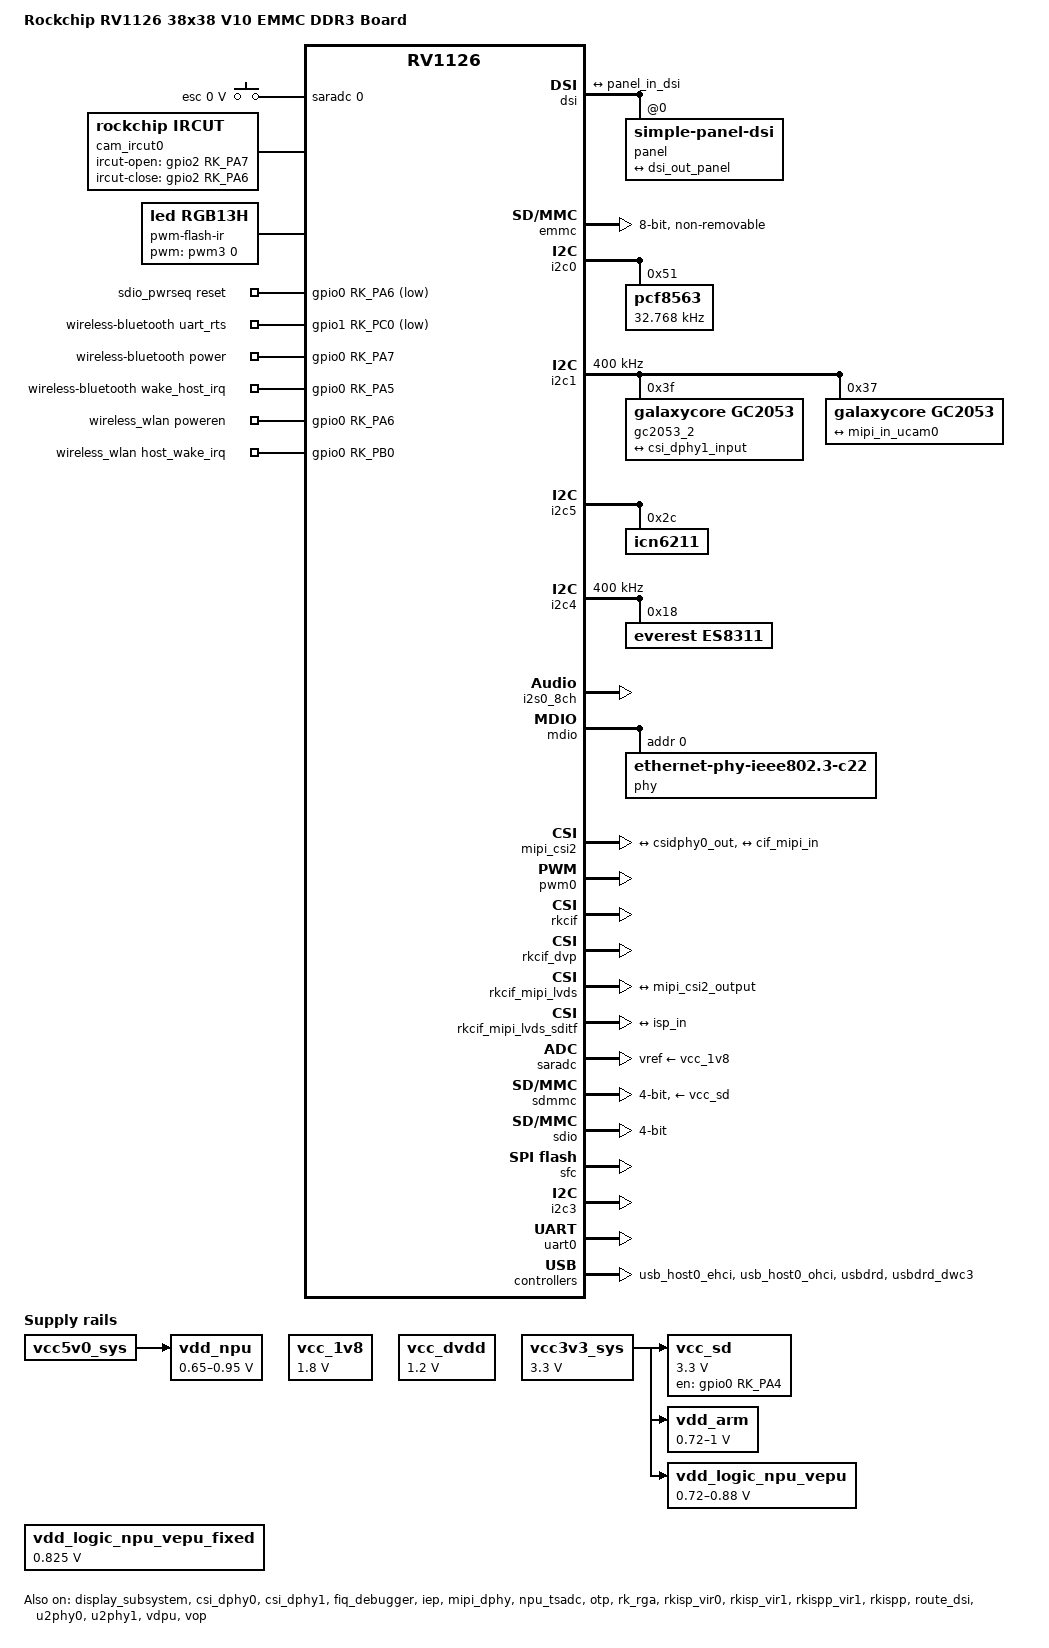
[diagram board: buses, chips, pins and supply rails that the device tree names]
// SPDX-License-Identifier: (GPL-2.0+ OR MIT)
/*
 * Copyright (c) 2020 Rockchip Electronics Co., Ltd.
 */

/dts-v1/;
#include "rv1126.dtsi"
#include "rv1126-ipc.dtsi"
#include <dt-bindings/display/drm_mipi_dsi.h>
#include <dt-bindings/input/input.h>

/ {
	model = "Rockchip RV1126 38x38 V10 EMMC DDR3 Board";
	compatible = "rockchip,rv1126-38x38-v10-emmc", "rockchip,rv1126";

	chosen {
		bootargs = "earlycon=uart8250,mmio32,0xff570000 console=ttyFIQ0 root=PARTUUID=614e0000-0000 rootfstype=ext4 rootwait snd_aloop.index=7";
	};

	/delete-node/ vdd-npu;
	/delete-node/ vdd-vepu;

	vcc_1v8: vcc-1v8 {
		compatible = "regulator-fixed";
		regulator-name = "vcc_1v8";
		regulator-always-on;
		regulator-boot-on;
		regulator-min-microvolt = <1800000>;
		regulator-max-microvolt = <1800000>;
	};

	vcc_dvdd: vcc-dvdd {
		compatible = "regulator-fixed";
		regulator-name = "vcc_dvdd";
		regulator-always-on;
		regulator-boot-on;
		regulator-min-microvolt = <1200000>;
		regulator-max-microvolt = <1200000>;
	};

	vcc3v3_sys: vcc33sys {
		compatible = "regulator-fixed";
		regulator-name = "vcc3v3_sys";
		regulator-always-on;
		regulator-boot-on;
		regulator-min-microvolt = <3300000>;
		regulator-max-microvolt = <3300000>;
	};

	vcc_sd: vcc-sd {
		compatible = "regulator-fixed";
		gpio = <&gpio0 RK_PA4 GPIO_ACTIVE_HIGH>;
		pinctrl-0 = <&sdmmc_pwr>;
		pinctrl-names = "default";
		regulator-name = "vcc_sd";
		regulator-min-microvolt = <3300000>;
		regulator-max-microvolt = <3300000>;
		startup-delay-us = <100000>;
		vin-supply = <&vcc3v3_sys>;
		enable-active-high;
	};

	vdd_arm: vdd-arm {
		compatible = "pwm-regulator";
		pwms = <&pwm0 0 5000 1>;
		regulator-name = "vdd_arm";
		regulator-min-microvolt = <720000>;
		regulator-max-microvolt = <1000000>;
		regulator-init-microvolt = <825000>;
		regulator-always-on;
		regulator-boot-on;
		regulator-settling-time-up-us = <250>;
		pwm-supply = <&vcc3v3_sys>;
		status = "okay";
	};

	/*
	 * pwm1 is reserved as voltage adjustment in hardware
	 * use fixed regulator to avoid voltage adjustment by software
	 */
	vdd_logic_npu_vepu: vdd-logic-npu-vepu {
		compatible = "pwm-regulator";
		pwms = <&pwm1 0 5000 1>;
		regulator-name = "vdd_logic_npu_vepu";
		regulator-min-microvolt = <720000>;
		regulator-max-microvolt = <880000>;
		regulator-init-microvolt = <825000>;
		regulator-always-on;
		regulator-boot-on;
		regulator-settling-time-up-us = <250>;
		pwm-supply = <&vcc3v3_sys>;
		status = "okay";
	};

	vdd_logic_npu_vepu_fixed: vdd-logic-npu-vepu-fixed {
		compatible = "regulator-fixed";
		regulator-name = "vdd_logic_npu_vepu-fixed";
		regulator-always-on;
		regulator-boot-on;
		regulator-min-microvolt = <825000>;
		regulator-max-microvolt = <825000>;
	};


	vdd_npu: vdd-npu {
		compatible = "pwm-regulator";
		pwms = <&pwm0 0 5000 1>;
		regulator-name = "vdd_npu";
		regulator-min-microvolt = <650000>;
		regulator-max-microvolt = <950000>;
		regulator-init-microvolt = <800000>;
		regulator-always-on;
		regulator-boot-on;
		regulator-settling-time-up-us = <250>;
		pwm-supply = <&vcc5v0_sys>;
		status = "okay";
	};


	adc-keys {
		compatible = "adc-keys";
		io-channels = <&saradc 0>;
		io-channel-names = "buttons";
		poll-interval = <100>;
		keyup-threshold-microvolt = <1800000>;

		esc-key {
			label = "esc";
			linux,code = <KEY_ESC>;
			press-threshold-microvolt = <0>;
		};
	};

	cam_ircut0: cam_ircut {
		status = "okay";
		compatible = "rockchip,ircut";
		ircut-open-gpios = <&gpio2 RK_PA7 GPIO_ACTIVE_HIGH>;
		ircut-close-gpios  = <&gpio2 RK_PA6 GPIO_ACTIVE_HIGH>;
		rockchip,camera-module-index = <1>;
		rockchip,camera-module-facing = "front";

	};

	flash_ir: flash-ir {
		status = "okay";
		compatible = "led,rgb13h";
		label = "pwm-flash-ir";
		led-max-microamp = <20000>;
		flash-max-microamp = <20000>;
		flash-max-timeout-us = <1000000>;
		pwms=<&pwm3 0 25000 0>;
		rockchip,camera-module-index = <1>;
		rockchip,camera-module-facing = "front";
	};

	i2s0_sound: i2s0-sound {
		status = "okay";
		compatible = "simple-audio-card";
		simple-audio-card,format = "i2s";
		simple-audio-card,mclk-fs = <256>;
		simple-audio-card,name = "rockchip,i2s0-sound";
		simple-audio-card,cpu {
			sound-dai = <&i2s0_8ch>;
		};
		simple-audio-card,codec {
			sound-dai = <&es8311>;
		};
	};

	sdio_pwrseq: sdio-pwrseq {
		compatible = "mmc-pwrseq-simple";
		pinctrl-names = "default";
		pinctrl-0 = <&wifi_enable_h>;

		/*
		 * On the module itself this is one of these (depending
		 * on the actual card populated):
		 * - SDIO_RESET_L_WL_REG_ON
		 * - PDN (power down when low)
		 */
		reset-gpios = <&gpio0 RK_PA6 GPIO_ACTIVE_LOW>;
	};
	wireless-bluetooth {
		compatible = "bluetooth-platdata";
		uart_rts_gpios = <&gpio1 RK_PC0 GPIO_ACTIVE_LOW>;
		pinctrl-names = "default", "rts_gpio";
		pinctrl-0 = <&uart0_rtsn>;
		pinctrl-1 = <&uart0_rtsn_gpio>;
		BT,power_gpio    = <&gpio0 RK_PA7 GPIO_ACTIVE_HIGH>;
		BT,wake_host_irq = <&gpio0 RK_PA5 GPIO_ACTIVE_HIGH>;
		status = "okay";
	};

	wireless_wlan: wireless-wlan {
		compatible = "wlan-platdata";
		rockchip,grf = <&grf>;
	//	clocks = <&rk809 1>;
	//	clock-names = "clk_wifi";
	//	pinctrl-names = "default";
		pinctrl-0 = <&wifi_wake_host>;
		wifi_chip_type = "ap6255";
		WIFI,poweren_gpio = <&gpio0 RK_PA6 GPIO_ACTIVE_HIGH>; 
		WIFI,host_wake_irq = <&gpio0 RK_PB0 GPIO_ACTIVE_HIGH>;
		status = "okay";
	};
	/*
	wireless_wlan: wireless-wlan {
		compatible = "wlan-platdata";
		rockchip,grf = <&grf>;
		wifi_chip_type = "USB-WiFi";
		WIFI,poweren_gpio = <&gpio0 RK_PC0 GPIO_ACTIVE_HIGH>;
		status = "okay";
	};
	*/
};

&display_subsystem {
	status = "okay";
};

&dsi {
	status = "okay";

	rockchip,lane-rate = <480>;
	panel@0 {
		compatible = "simple-panel-dsi";
		reg = <0>;
		//backlight = <&backlight>;
		//power-supply = <&vcc18_lcd_n>;
		prepare-delay-ms = <5>;
		reset-delay-ms = <1>;
		init-delay-ms = <80>;
		disable-delay-ms = <10>;
		unprepare-delay-ms = <5>;

		width-mm = <68>;
		height-mm = <121>;

		dsi,flags = <(MIPI_DSI_MODE_VIDEO | MIPI_DSI_MODE_VIDEO_BURST | MIPI_DSI_MODE_LPM | MIPI_DSI_MODE_EOT_PACKET)>;
		dsi,format = <MIPI_DSI_FMT_RGB888>;
		dsi,lanes = <4>;


		display-timings {
			native-mode = <&timing0>;

			timing0: timing0 {
				clock-frequency = <33359000>;
				hactive = <800>;
				vactive = <480>;
				hfront-porch = <210>;
				hsync-len = <1>;
				hback-porch = <46>;
				vfront-porch = <22>;
				vsync-len = <1>;
				vback-porch = <23>;
				hsync-active = <0>;
				vsync-active = <0>;
				de-active = <0>;
				pixelclk-active = <0>;
			};
		};

		ports {
			#address-cells = <1>;
			#size-cells = <0>;

			port@0 {
				reg = <0>;
				panel_in_dsi: endpoint {
					remote-endpoint = <&dsi_out_panel>;
				};
			};
		};
	};

	ports {
		#address-cells = <1>;
		#size-cells = <0>;

		port@1 {
			reg = <1>;
			dsi_out_panel: endpoint {
				remote-endpoint = <&panel_in_dsi>;
			};
		};
	};
};


&csi_dphy0 {
	status = "okay";

	ports {
		#address-cells = <1>;
		#size-cells = <0>;
		port@0 {
			reg = <0>;
			#address-cells = <1>;
			#size-cells = <0>;

			mipi_in_ucam0: endpoint@1 {
				reg = <1>;
				remote-endpoint = <&ucam_out0>;
				data-lanes = <1 2>;
			//	data-lanes = <1 2 3 4>;//sure
			};
		};
		port@1 {
			reg = <1>;
			#address-cells = <1>;
			#size-cells = <0>;

			csidphy0_out: endpoint@0 {
				reg = <0>;
				remote-endpoint = <&mipi_csi2_input>;
				data-lanes = <1 2>;//sure
				//data-lanes = <1 2 3 4>;
			};
		};
	};
};



&csi_dphy1 {
	status = "okay";
	ports {
		port@0 {
			csi_dphy1_input: endpoint@1 {
				remote-endpoint = <&ucam_out1>;
				data-lanes = <1 2>;//sure
				//data-lanes = <1 2 3 4>;
			};
		};
		port@1 {
			csi_dphy1_output: endpoint@0 {
				remote-endpoint = <&isp_virt1>;
				data-lanes = <1 2>;//sure
				//data-lanes = <1 2 3 4>;
			};
		};
	};
};



&emmc {
	bus-width = <8>;
	cap-mmc-highspeed;
	non-removable;
	mmc-hs200-1_8v;
	rockchip,default-sample-phase = <90>;
	supports-emmc;
	/delete-property/ pinctrl-names;
	/delete-property/ pinctrl-0;
	status = "okay";
};

&fiq_debugger {
	status = "okay";
};

/*
&gmac {
	phy-mode = "rgmii";
	clock_in_out = "input";

	snps,reset-gpio = <&gpio3 RK_PA0 GPIO_ACTIVE_LOW>;
	snps,reset-active-low;
	// Reset time is 20ms, 100ms for rtl8211f 
	snps,reset-delays-us = <0 20000 100000>;

	assigned-clocks = <&cru CLK_GMAC_SRC>, <&cru CLK_GMAC_TX_RX>, <&cru CLK_GMAC_ETHERNET_OUT>;
	assigned-clock-parents = <&cru CLK_GMAC_SRC_M1>, <&cru RGMII_MODE_CLK>;
	assigned-clock-rates = <125000000>, <0>, <25000000>;

	pinctrl-names = "default";
	pinctrl-0 = < &rmiim1_miim &rmiim1_bus2  &rgmiim1_bus4 &clkm1_out_ethernet>;

	tx_delay = <0x2a>;
	rx_delay = <0x1a>;

	phy-handle = <&phy>;
	status = "okay";
};
*/

&i2c0 {
	status = "okay";

	pcf8563: pcf8563@51 {
		compatible = "pcf8563";
		reg = <0x51>;
		#clock-cells = <0>;
		clock-frequency = <32768>;
		clock-output-names = "xin32k";
	};
};

/*
&i2c1 {
        status = "okay";
        clock-frequency = <400000>;

        imx415: imx415@1a {
                   compatible = "sony,imx415";
                   reg = <0x1a>;
                   clocks = <&cru CLK_MIPICSI_OUT>;
                   clock-names = "xvclk";
                   power-domains = <&power RV1126_PD_VI>;
                   pinctrl-names = "rockchip,camera_default";
                   pinctrl-0 = <&mipicsi_clk0>;
//                   avdd-supply = <&vcc3v3_sys>;
//                   dovdd-supply = <&vcc_1v8>;
//                   dvdd-supply = <&vcc_dvdd>;
//                   reset-gpios = <&gpio1 RK_PD5 GPIO_ACTIVE_LOW>;
                   rockchip,camera-module-index = <0>;
                   rockchip,camera-module-facing = "front";
                   rockchip,camera-module-name = "YT10092";
                   rockchip,camera-module-lens-name = "IR0147-28IRC-8M-F20";
                   ir-cut = <&cam_ircut0>;
                   port {
                                   ucam_out0: endpoint {
                                                   remote-endpoint = <&mipi_in_ucam0>;
                                                   data-lanes = <1 2 3 4>;
                                   };
                   };
        };
	
	        gc2053_2: gc2053_2@3f {
                compatible = "galaxycore,gc2053";
                reg = <0x3f>;
                clocks = <&cru CLK_MIPICSI_OUT>;
                clock-names = "xvclk";

                power-domains = <&power RV1126_PD_VI>;
                pinctrl-names = "rockchip,camera_default";
                pinctrl-0 = <&mipicsi_clk1>;

//              pwd-gpios = <&gpio3 RK_PA4 GPIO_ACTIVE_HIGH>;
//              reset-gpios = <&gpio2 RK_PA0 GPIO_ACTIVE_LOW>;
                rockchip,camera-module-index = <1>;
                rockchip,camera-module-facing = "front";
                rockchip,camera-module-name = "CMK-OT1726-PG1";
                rockchip,camera-module-lens-name = "29IR-2MP-F25";
//              ir-cut = <&cam_ircut0>;
                port {
                        ucam_out1: endpoint {
                                remote-endpoint = <&csi_dphy1_input>;
                                data-lanes = <1 2>;
                        };
                };
        };


};
*/


&i2c1 {
	status = "okay";
	clock-frequency = <400000>;


	gc2053_2: gc2053_2@3f {
		compatible = "galaxycore,gc2053";
		reg = <0x3f>;
		clocks = <&cru CLK_MIPICSI_OUT>;
		clock-names = "xvclk";
		
		power-domains = <&power RV1126_PD_VI>;
		pinctrl-names = "rockchip,camera_default";
		pinctrl-0 = <&mipicsi_clk1>;

//		pwd-gpios = <&gpio3 RK_PA4 GPIO_ACTIVE_HIGH>;
//		reset-gpios = <&gpio2 RK_PA0 GPIO_ACTIVE_LOW>;
  		rockchip,camera-module-index = <1>;
  		rockchip,camera-module-facing = "front";
  		rockchip,camera-module-name = "CMK-OT1726-PG1";
  		rockchip,camera-module-lens-name = "29IR-2MP-F25";
//		ir-cut = <&cam_ircut0>;
		port {
			ucam_out1: endpoint {
				remote-endpoint = <&csi_dphy1_input>;
				data-lanes = <1 2>;
			};
		};
	};
	
	gc2053: gc2053@37 {
		compatible = "galaxycore,gc2053";
		reg = <0x37>;

		clocks = <&cru CLK_MIPICSI_OUT>;
		clock-names = "xvclk";

		power-domains = <&power RV1126_PD_VI>;
		pinctrl-names = "rockchip,camera_default";
		pinctrl-0 = <&mipicsi_clk0>;
//		power-gpios = <&gpio3 RK_PA6 GPIO_ACTIVE_HIGH>;
//		pwdn-gpios = <&gpio1 RK_PD4 GPIO_ACTIVE_LOW>;
//		reset-gpios = <&gpio1 RK_PD5 GPIO_ACTIVE_LOW>;

		rockchip,camera-module-index = <0>;
		rockchip,camera-module-facing = "front";
		rockchip,camera-module-name = "YT-RV1109-2-V1";
		rockchip,camera-module-lens-name = "40IR-2MP-F20";
		port {
			ucam_out0: endpoint {
				remote-endpoint = <&mipi_in_ucam0>;
				data-lanes = <1 2>;
			};
		};
	};
	

};


&i2c5 {
	status = "okay";

	icn6211: icn6211@2c  {
		compatible = "icn6211";
		reg = <0x2c>;
	};
};


/* isp cma buffer don't fiddle with it, dual camera(1920 * 1080) need 92M buffer */
&isp_reserved {
	size = <0x5c00000>;
	//size = <0xb800000>;
};


&i2c4 {
        status = "okay";
        clock-frequency = <400000>;
        pinctrl-0 = <&i2c4m1_xfer>;

        es8311: es8311@18 {
                compatible = "everest,es8311";
                reg = <0x18>;
                clocks = <&cru MCLK_I2S0_TX_OUT2IO>;
                clock-names = "mclk";
                adc-volume = <0xbf>;  /* 0dB */
                dac-volume = <0xbf>;  /* 0dB */
                //aec-mode = "dac left, adc right";
                aec-mode = "adc left, adc right";
                pinctrl-names = "default";
                pinctrl-0 = <&i2s0m0_mclk >;
		//&spk_ctl>;
                assigned-clocks = <&cru MCLK_I2S0_TX_OUT2IO>;
                assigned-clock-parents = <&cru MCLK_I2S0_TX>;
                //spk-ctl-gpios = <&gpio2 RK_PA5 GPIO_ACTIVE_HIGH>;
                #sound-dai-cells = <0>;
        };
};

&i2s0_8ch {
	status = "okay";
	rockchip,clk-trcm = <1>;
	#sound-dai-cells = <0>;
	pinctrl-0 = <&i2s0m0_sclk_tx
		     &i2s0m0_lrck_tx
		     &i2s0m0_sdi0
		     &i2s0m0_sdo0>;
};

&iep {
	status = "okay";
};

&iep_mmu {
	status = "okay";
};


&mdio {
	phy: phy@0 {
		compatible = "ethernet-phy-ieee802.3-c22";
		reg = <0x0>;
		clocks = <&cru CLK_GMAC_ETHERNET_OUT>;
	};
};

&mipi_csi2 {
	status = "okay";

	ports {
		#address-cells = <1>;
		#size-cells = <0>;

		port@0 {
			reg = <0>;
			#address-cells = <1>;
			#size-cells = <0>;

			mipi_csi2_input: endpoint@1 {
				reg = <1>;
				remote-endpoint = <&csidphy0_out>;
				data-lanes = <1 2>;//sure
				//data-lanes = <1 2 3 4>;
			};
		};

		port@1 {
			reg = <1>;
			#address-cells = <1>;
			#size-cells = <0>;

			mipi_csi2_output: endpoint@0 {
				reg = <0>;
				remote-endpoint = <&cif_mipi_in>;
				data-lanes = <1 2>;//sure
				//data-lanes = <1 2 3 4>;
			};
		};
	};
};

&mipi_dphy {
	status = "okay";
};


/*
&npu {
	npu-supply = <&vdd_npu>;
	status = "okay";
};
*/

&npu_tsadc {
	status = "okay";
};

&optee {
	status = "disabled";
};

&otp {
	status = "okay";
};

&pinctrl {

	sdmmc-pwr {
		/omit-if-no-ref/
		sdmmc_pwr: sdmmc-pwr {
			rockchip,pins = <0 RK_PA4 RK_FUNC_GPIO &pcfg_pull_none>;
		};
	};
	
	sdio-pwrseq {
		/omit-if-no-ref/
		wifi_enable_h: wifi-enable-h {
			rockchip,pins = <0 RK_PA6 RK_FUNC_GPIO &pcfg_pull_none>;
						
		};
	};

	wireless-wlan {
		/omit-if-no-ref/
		wifi_wake_host: wifi-wake-host {
			rockchip,pins = <0 RK_PB0 0 &pcfg_pull_up>;
				
		};
	};
	
};

&pmu_io_domains {
	status = "okay";

	pmuio0-supply = <&vcc_1v8>;
	pmuio1-supply = <&vcc3v3_sys>;
	vccio2-supply = <&vcc3v3_sys>;
	vccio3-supply = <&vcc_1v8>;
	vccio4-supply = <&vcc_1v8>;
	vccio5-supply = <&vcc3v3_sys>;
	vccio6-supply = <&vcc_1v8>;
	vccio7-supply = <&vcc3v3_sys>;
};

&pwm0 {
	status = "okay";
	pinctrl-names = "active";
	pinctrl-0 = <&pwm0m0_pins_pull_down>;
};


&rk_rga {
	status = "okay";
};


&rkcif {
	status = "okay";
};

&rkcif_mmu {
	status = "disabled";
};

&rkcif_dvp {
	status = "okay";

	port {
		/* Parallel bus endpoint */
		/*
		cif_para_in: endpoint {
			remote-endpoint = <&cam_para_out1>;
			bus-width = <12>;
			hsync-active = <1>;
			vsync-active = <0>;
		};
		*/
	};
};
&rkcif_mipi_lvds {
	status = "okay";
	port {
		/* MIPI CSI-2 endpoint */
		cif_mipi_in: endpoint {
			remote-endpoint = <&mipi_csi2_output>;
			data-lanes = <1 2>;//sure
			//data-lanes = <1 2 3 4>;
		};
	};
};

&rkcif_mipi_lvds_sditf {
	status = "okay";

	port {
		/* MIPI CSI-2 endpoint */
		mipi_lvds_sditf: endpoint {
			remote-endpoint = <&isp_in>;
			data-lanes = <1 2>;//sure
			//data-lanes = <1 2 3 4>;
		};
	};
};


&rkisp_vir0 {
	status = "okay";

	ports {
		port@0 {
			reg = <0>;
			#address-cells = <1>;
			#size-cells = <0>;

			isp_in: endpoint@0 {
				reg = <0>;
				remote-endpoint = <&mipi_lvds_sditf>;
			};
		};
	};
};

&rkisp_vir1 {
	status = "okay";
	ports {
		port@0 {
			isp_virt1: endpoint@0 {
				remote-endpoint = <&csi_dphy1_output>;
			};
		};
	};
};



&rkispp_vir1 {
	status = "okay";
};

&rkispp {
	status = "okay";
	/* the max input w h and fps of mulit sensor */
	max-input = <1920 1080 30>;
	//max-input = <3840 2160 30>;
};



&rkvenc {
	venc-supply = <&vdd_logic_npu_vepu_fixed>;
};


&rockchip_suspend {
	status = "okay";
	rockchip,sleep-debug-en = <1>;
	rockchip,sleep-mode-config = <
		(0
		| RKPM_SLP_ARMOFF
		| RKPM_SLP_PMU_PMUALIVE_32K
		| RKPM_SLP_PMU_DIS_OSC
		)
	>;
};

&route_dsi {
	status = "okay";
};
&saradc {
	status = "okay";
	vref-supply = <&vcc_1v8>;
};

&sdmmc0_bus4 {
	rockchip,pins =
		/* sdmmc0_d0 */
		<1 RK_PA4 1 &pcfg_pull_up_drv_level_0>,
		/* sdmmc0_d1 */
		<1 RK_PA5 1 &pcfg_pull_up_drv_level_0>,
		/* sdmmc0_d2 */
		<1 RK_PA6 1 &pcfg_pull_up_drv_level_0>,
		/* sdmmc0_d3 */
		<1 RK_PA7 1 &pcfg_pull_up_drv_level_0>;
};

&sdmmc0_clk {
	rockchip,pins =
		/* sdmmc0_clk */
		<1 RK_PB0 1 &pcfg_pull_up_drv_level_3>;
};

&sdmmc0_cmd {
	rockchip,pins =
		/* sdmmc0_cmd */
		<1 RK_PB1 1 &pcfg_pull_up_drv_level_0>;
};

&sdmmc {
	bus-width = <4>;
	cap-mmc-highspeed;
	cap-sd-highspeed;
	card-detect-delay = <200>;
	rockchip,default-sample-phase = <90>;
	supports-sd;
	sd-uhs-sdr12;
	sd-uhs-sdr25;
	sd-uhs-sdr104;
	status = "okay";
	vmmc-supply = <&vcc_sd>;
};

&soc_crit {
	/* millicelsius */
	temperature = <125000>;
};

&sdio {
	max-frequency = <20000000>;
	bus-width = <4>;
	cap-sd-highspeed;
	cap-sdio-irq;
	keep-power-in-suspend;
	//non-removable;
	rockchip,default-sample-phase = <135>;//<90>;
	//sd-uhs-sdr104;
	supports-sdio;
	//mmc-pwrseq = <&sdio_pwrseq>;
	status = "okay";
};

&sfc {
	/delete-property/ pinctrl-names;
	/delete-property/ pinctrl-0;
	status = "okay";
};

&u2phy0 {
	status = "okay";
	vup-gpios = <&gpio0 RK_PC1 GPIO_ACTIVE_LOW>;
	u2phy_otg: otg-port {
		status = "okay";
	};
};


&i2c3 {
        status = "okay";
};

&u2phy1 {
	status = "okay";
	u2phy_host: host-port {
		status = "okay";
	};
};

&uart0 {
	pinctrl-names = "default";
	pinctrl-0 = <&uart0_xfer &uart0_ctsn>;
	status = "okay";
};


&usb_host0_ehci {
	status = "okay";
};

&usb_host0_ohci {
	status = "okay";
};
&usbdrd {
	status = "okay";
};

&usbdrd_dwc3 {
	status = "okay";
	extcon = <&u2phy0>;
};

&vdpu {
	status = "okay";
};

&vop {
	status = "okay";
};

&vop_mmu {
	status = "okay";
};
